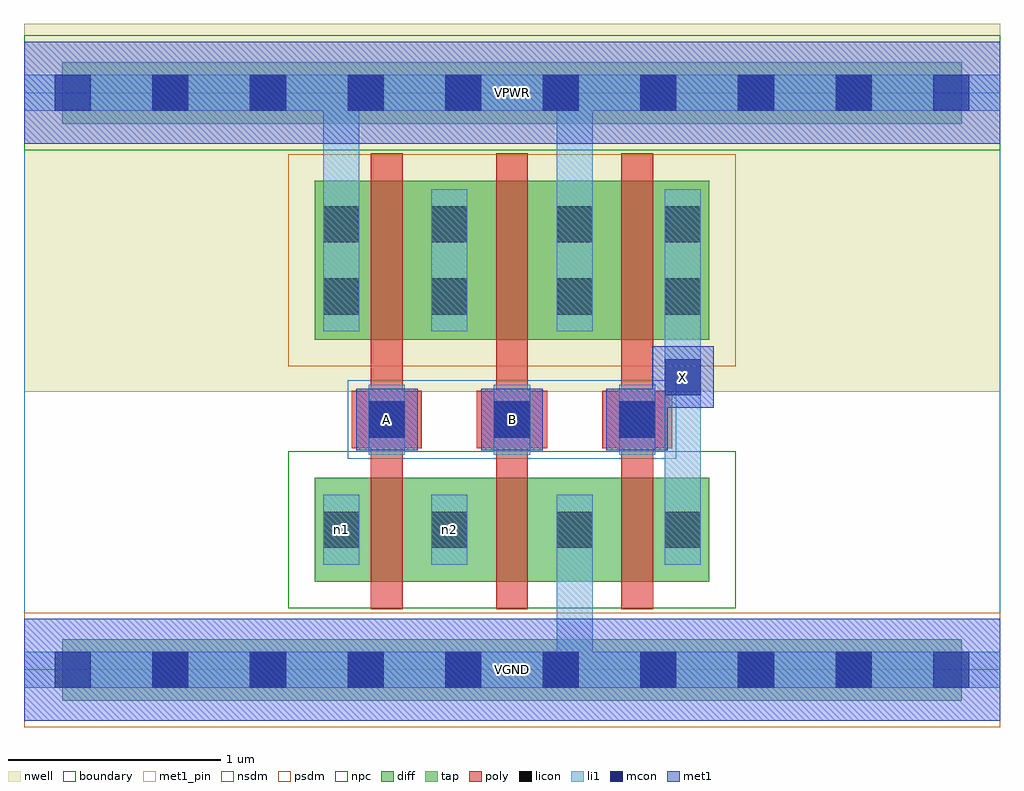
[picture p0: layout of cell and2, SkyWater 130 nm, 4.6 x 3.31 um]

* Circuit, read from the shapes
.subckt and2 A B VGND VPWR X n1 n2
XM1 n2 A n1 VGND sky130_fd_pr__nfet_01v8 w=0.49 l=0.15
XM2 VGND B n2 VGND sky130_fd_pr__nfet_01v8 w=0.49 l=0.15
XM3 X X VGND VGND sky130_fd_pr__nfet_01v8 w=0.49 l=0.15
XM4 n3 A VPWR VPWR sky130_fd_pr__pfet_01v8 w=0.75 l=0.15
XM5 VPWR B n3 VPWR sky130_fd_pr__pfet_01v8 w=0.75 l=0.15
XM6 X X VPWR VPWR sky130_fd_pr__pfet_01v8 w=0.75 l=0.15
.ends

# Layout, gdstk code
import gdstk
lib = gdstk.Library(unit=1e-6, precision=1e-09)
def R(c, l, rs):  # rectangles x0, y0, x1, y1
    for r in rs: c.add(gdstk.rectangle(r[:2], r[2:], *l))
def A(c, l, x, y, w, h, nx, ny, dx, dy):  # array of equal rectangles
    R(c, l, [(x+i*dx, y+j*dy, x+i*dx+w, y+j*dy+h) for i in range(nx) for j in range(ny)])
nwell = (64, 20)
diff = (65, 20)
tap = (65, 44)
poly = (66, 20)
licon = (66, 44)
li1 = (67, 20)
mcon = (67, 44)
met1_pin = (68, 16)
met1 = (68, 20)
nsdm = (93, 44)
psdm = (94, 20)
npc = (95, 20)
boundary = (235, 4)

and2 = lib.new_cell('and2')
R(and2, nwell, [(0,1.31,4.6,3.045)])
R(and2, diff, [(1.37,0.415,3.23,0.905), (1.37,1.555,3.23,2.305)])
R(and2, tap, [(0.18,-0.145,4.42,0.145), (0.18,2.575,4.42,2.865)])
A(and2, poly, 1.635, 0.285, 0.15, 2.15, 3, 1, 0.59, 0)
A(and2, poly, 1.545, 1.045, 0.33, 0.27, 3, 1, 0.59, 0)
A(and2, licon, 0.605, -0.085, 0.17, 0.17, 8, 2, 0.46, 2.72)
A(and2, licon, 1.625, 1.095, 0.17, 0.17, 3, 1, 0.59, 0)
R(and2, licon, [(1.41,0.575,1.58,0.745), (1.92,0.575,2.09,0.745), (2.51,0.575,2.68,0.745), (3.02,0.575,3.19,0.745), (1.41,1.675,1.58,1.845), (1.92,1.675,2.09,1.845), (2.51,1.675,2.68,1.845), (3.02,1.675,3.19,1.845), (1.41,2.015,1.58,2.185), (1.92,2.015,2.09,2.185), (2.51,2.015,2.68,2.185), (3.02,2.015,3.19,2.185)])
A(and2, li1, 1.625, 1.015, 0.17, 0.33, 3, 1, 0.59, 0)
R(and2, li1, [(0,-0.085,4.6,0.085), (2.51,-0.085,2.68,0.825), (1.41,0.495,1.58,0.825), (1.92,0.495,2.09,0.825), (2.51,0.495,2.68,0.825), (3.02,0.495,3.19,0.825), (3.02,0.495,3.19,2.265), (1.41,1.595,1.58,2.265), (1.41,1.595,1.58,2.805), (1.92,1.595,2.09,2.265), (2.51,1.595,2.68,2.265), (2.51,1.595,2.68,2.805), (3.02,1.595,3.19,2.265), (0,2.635,4.6,2.805)])
A(and2, mcon, 0.145, -0.085, 0.17, 0.17, 10, 2, 0.46, 2.72)
A(and2, mcon, 1.625, 1.095, 0.17, 0.17, 3, 1, 0.59, 0)
R(and2, mcon, [(3.02,1.295,3.19,1.465)])
R(and2, met1_pin, [(0,-0.24,4.6,0.24), (1.565,1.035,1.855,1.325), (2.155,1.035,2.445,1.325), (2.96,1.235,3.25,1.525), (0,2.48,4.6,2.96)])
A(and2, met1, 1.565, 1.035, 0.29, 0.29, 3, 1, 0.59, 0)
R(and2, met1, [(0,-0.24,4.6,0.24), (2.96,1.235,3.25,1.525), (0,2.48,4.6,2.96)])
R(and2, nsdm, [(1.245,0.29,3.355,1.03), (0,2.45,4.6,2.99)])
R(and2, psdm, [(0,-0.27,4.6,0.27), (1.245,1.43,3.355,2.43)])
R(and2, npc, [(1.525,0.995,3.075,1.365)])
R(and2, boundary, [(0,0,4.6,2.72)])
and2.add(gdstk.Label('n1', (1.495,0.66), layer=67, texttype=5))
and2.add(gdstk.Label('n2', (2.005,0.66), layer=67, texttype=5))
and2.add(gdstk.Label('A', (1.71,1.18), layer=68, texttype=5))
and2.add(gdstk.Label('B', (2.3,1.18), layer=68, texttype=5))
and2.add(gdstk.Label('X', (3.105,1.38), layer=68, texttype=5))
and2.add(gdstk.Label('VPWR', (2.3,2.72), layer=68, texttype=5))
and2.add(gdstk.Label('VGND', (2.3,0), layer=68, texttype=5))
and2.add(gdstk.Label('A', (1.71,1.18), layer=68, texttype=16))
and2.add(gdstk.Label('B', (2.3,1.18), layer=68, texttype=16))
and2.add(gdstk.Label('X', (3.105,1.38), layer=68, texttype=16))
and2.add(gdstk.Label('VPWR', (2.3,2.72), layer=68, texttype=16))
and2.add(gdstk.Label('VGND', (2.3,0), layer=68, texttype=16))

lib.write_gds('and2.gds')
